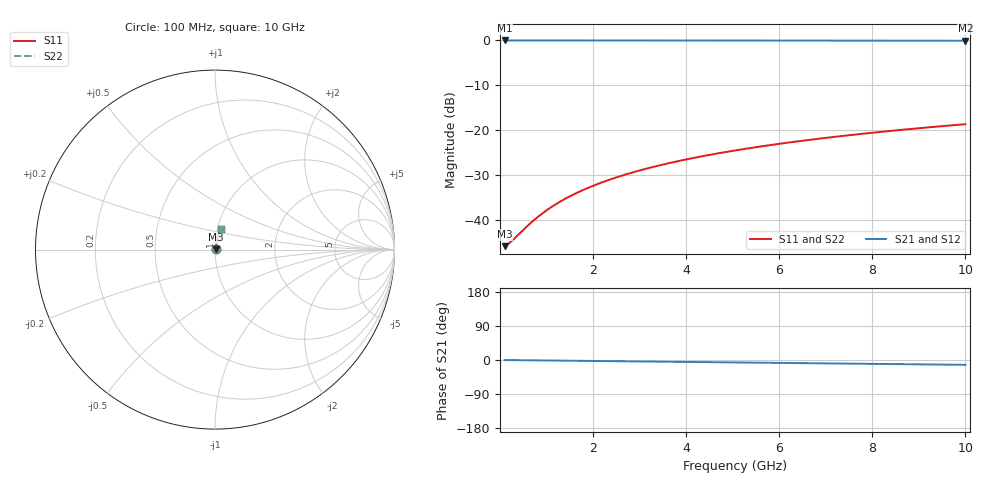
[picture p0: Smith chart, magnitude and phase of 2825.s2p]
# Hz S RI R 50.00
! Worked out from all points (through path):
!   100 points, 100 MHz to 10 GHz, reference 50 ohm
!   highest |S21| = -0.04 dB at 100 MHz (marker M1); lowest = -0.1 dB at 10 GHz (marker M2)
!   group delay of S21, straight-line fit = 3.54 ps
!   lowest |S11| = -45.7 dB at 100 MHz (marker M3), VSWR 1.01, Z = 50.5 + j0.118 ohm
!   |S11| at or under -10 dB: start of sweep to end of sweep
!   |S22| runs from -45.7 to -18.7 dB; largest |S21 - S12| = 0
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1e8  0.00503 0.00117  0.995 -0.00222  0.995 -0.00222  0.00503 0.00117
2e8  0.00507 0.00234  0.9949 -0.00443  0.9949 -0.00443  0.00507 0.00234
3e8  0.00511 0.00351  0.9949 -0.00665  0.9949 -0.00665  0.00511 0.00351
5e8  0.00518 0.00584  0.9948 -0.0111  0.9948 -0.0111  0.00518 0.00584
7e8  0.00527 0.00818  0.9947 -0.0155  0.9947 -0.0155  0.00527 0.00818
8e8  0.00532 0.00935  0.9946 -0.0177  0.9946 -0.0177  0.00532 0.00935
1e9  0.00544 0.0117  0.9945 -0.0222  0.9945 -0.0222  0.00544 0.0117
1.2e9  0.00557 0.014  0.9943 -0.0266  0.9943 -0.0266  0.00557 0.014
1.4e9  0.00572 0.0164  0.9942 -0.031  0.9942 -0.031  0.00572 0.0164
1.6e9  0.0059 0.0187  0.9939 -0.0354  0.9939 -0.0354  0.0059 0.0187
1.8e9  0.00609 0.021  0.9937 -0.0399  0.9937 -0.0399  0.00609 0.021
2.1e9  0.00641 0.0245  0.9933 -0.0465  0.9933 -0.0465  0.00641 0.0245
2.5e9  0.00691 0.0291  0.9927 -0.0553  0.9927 -0.0553  0.00691 0.0291
2.9e9  0.0075 0.0338  0.992 -0.0642  0.992 -0.0642  0.0075 0.0338
3.4e9  0.00834 0.0396  0.991 -0.0752  0.991 -0.0752  0.00834 0.0396
4.2e9  0.00995 0.0488  0.989 -0.0928  0.989 -0.0928  0.00995 0.0488
5.1e9  0.0121 0.059  0.9864 -0.1125  0.9864 -0.1125  0.0121 0.059
5.9e9  0.0144 0.068  0.9836 -0.1299  0.9836 -0.1299  0.0144 0.068
6.7e9  0.0171 0.077  0.9804 -0.1473  0.9804 -0.1473  0.0171 0.077
7.5e9  0.02 0.0858  0.9768 -0.1645  0.9768 -0.1645  0.02 0.0858
8.4e9  0.0236 0.0956  0.9724 -0.1838  0.9724 -0.1838  0.0236 0.0956
1e10  0.0311 0.1126  0.9633 -0.2176  0.9633 -0.2176  0.0311 0.1126
